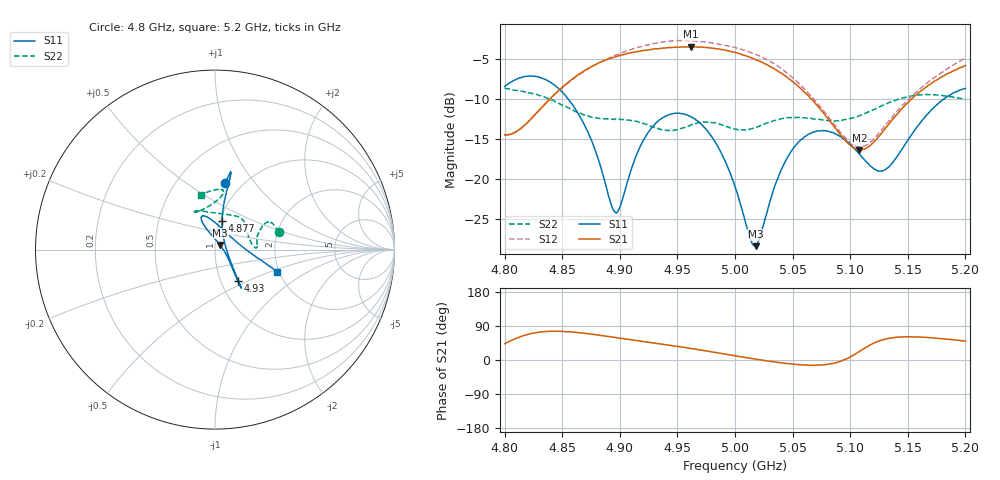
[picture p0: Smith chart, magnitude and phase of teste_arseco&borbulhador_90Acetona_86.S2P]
! Network Analyzer HP8722D
! Hewlett-Packard
! Data name: Linha & Wilkinson
! Saver's name: Rodrigo Anjos
! Comments: Teste da utilização de aquisição
! continua pelo VNA HP8722D
! Time and date: 17/4/2025 11:46
!  Frequency  S11  S21  S12  S22
# HZ  S  MA R 50
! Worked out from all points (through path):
!   401 points, 4.8 GHz to 5.2 GHz, reference 50 ohm
!   highest |S21| = -3.46 dB at 4.962 GHz (marker M1); lowest = -16.4 dB at 5.108 GHz (marker M2)
!   lowest |S11| = -28.4 dB at 5.018 GHz (marker M3), VSWR 1.08, Z = 52.8 + j2.69 ohm
!   |S11| at or under -10 dB: 4.855 GHz to 5.181 GHz (325.9 MHz wide, 6.5 % of centre)
!   |S22| runs from -14.0 to -8.7 dB; largest |S21 - S12| = 0.24
!   S11 on the Smith chart (normalised r, x): 4.8 GHz: 0.83, +0.72; 4.877 GHz: 1.03, +0.33; 4.93 GHz: 1.21, -0.44; 5.2 GHz: 1.96, -0.56
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4.8e9  0.3779 81.5  0.1889 43.1  0.1882 3.6  0.367 15.4
4.834e9  0.4227 78.1  0.2889 74.8  0.2875 38.3  0.3271 27.7
4.867e9  0.2339 78.9  0.4641 71.2  0.4602 41.5  0.2555 20.3
4.877e9  0.1626 75.7  0.5108 67.6  0.5107 40.3  0.2436 15.4
4.892e9  0.07108 44.4  0.5683 61.2  0.5763 38.0  0.2371 8.4
4.897e9  0.06112 13.4  0.5821 58.8  0.5985 37.2  0.2356 6.6
4.916e9  0.1501 -46.6  0.6276 50.6  0.6661 33.0  0.2274 2.4
4.93e9  0.2183 -53.2  0.6498 44.7  0.7022 28.8  0.2099 7.4
4.934e9  0.2324 -54.3  0.6525 42.8  0.7142 27.5  0.2049 10.3
4.962e9  0.2448 -55.2  0.6711 30.2  0.7329 16.9  0.2176 39.6
4.982e9  0.1741 -50.8  0.6554 20.2  0.7042 9.4  0.2247 54.4
5e9  0.08971 -34.6  0.6187 11.0  0.6653 2.8  0.2047 73.7
5.013e9  0.04223 7.2  0.5762 4.5  0.6192 -1.9  0.2048 91.9
5.018e9  0.03803 42.0  0.5573 2.3  0.6024 -3.7  0.2103 98.1
5.042e9  0.122 111.8  0.4495 -8.3  0.4804 -11.9  0.2391 115.9
5.067e9  0.1947 113.1  0.3132 -13.8  0.3245 -13.6  0.2377 118.3
5.086e9  0.1937 106.2  0.213 -8.1  0.2203 -4.3  0.2302 110.9
5.108e9  0.1432 86.0  0.1521 22.6  0.1588 29.5  0.249 96.0
5.123e9  0.1136 55.4  0.1781 47.8  0.1867 56.7  0.278 87.1
5.134e9  0.1198 26.6  0.2229 57.4  0.2326 67.6  0.3013 83.0
5.171e9  0.2729 -13.9  0.3994 58.4  0.4204 76.4  0.3364 86.4
5.2e9  0.3685 -19.5  0.5124 49.9  0.5693 73.5  0.3161 104.1
